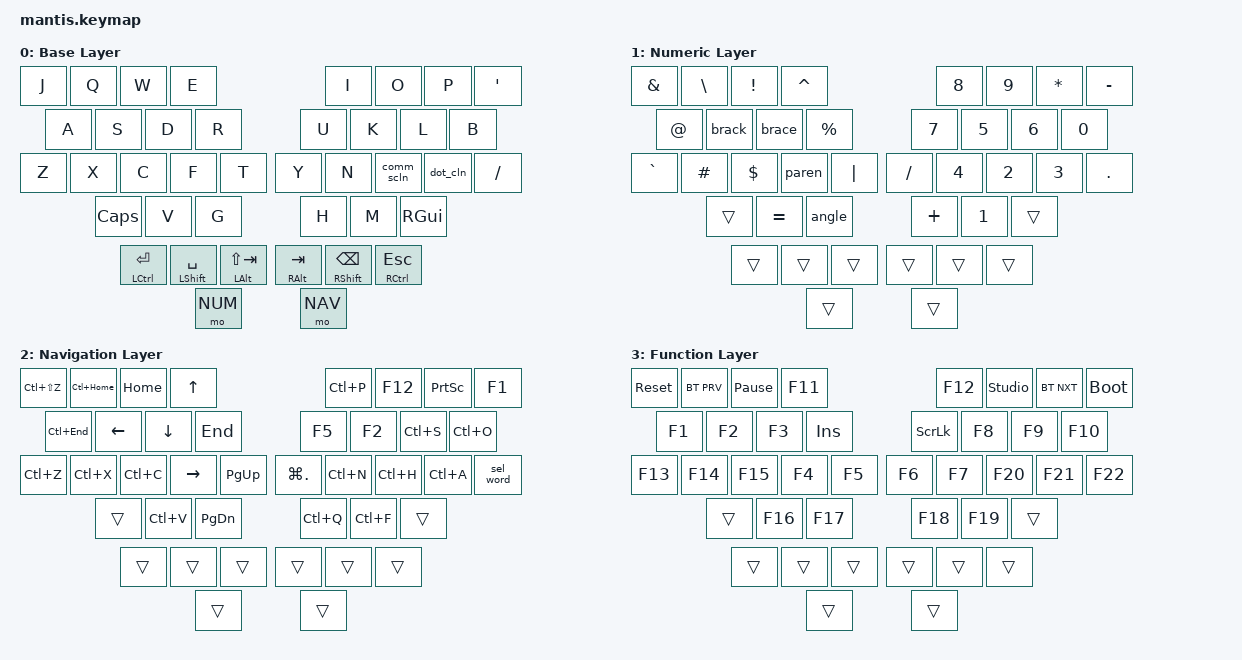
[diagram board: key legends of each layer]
/*
 * Copyright (c) 2024 Joshua Lucas
 *
 * SPDX-License-Identifier: MIT
 */

#include <dt-bindings/zmk/keys.h>
#include <behaviors.dtsi>
#include <dt-bindings/zmk/bt.h>

#define DEFAULT 0
#define NUM 1
#define NAV 2
#define FUNC 3

 / {
	behaviors {
		bspc_del: backspace_delete {
			compatible = "zmk,behavior-mod-morph";
			#binding-cells = <0>;
			bindings = <&kp BACKSPACE>, <&kp DELETE>;
			mods = <(MOD_LSFT|MOD_RSFT)>;
		};
		
		comm_scln: comma_semicolon {
			compatible = "zmk,behavior-mod-morph";
			#binding-cells = <0>;
			bindings = <&kp COMMA>, <&kp SEMICOLON>;
			mods = <(MOD_LSFT|MOD_RSFT)>;
		};

		dot_cln: dot_colon {
			compatible = "zmk,behavior-mod-morph";
			#binding-cells = <0>;
			bindings = <&kp DOT>, <&kp COLON>;
			mods = <(MOD_LSFT|MOD_RSFT)>;
		};
		
		under_minus: underscore_minus {
			compatible = "zmk,behavior-mod-morph";
			#binding-cells = <0>;
			bindings = <&kp UNDERSCORE>, <&kp MINUS>;
			mods = <(MOD_LSFT|MOD_RSFT)>;
		};

		brack: brackets {
			compatible = "zmk,behavior-mod-morph";
			#binding-cells = <0>;
			bindings = <&kp LEFT_BRACKET>, <&kp RIGHT_BRACKET>;
			mods = <(MOD_LSFT|MOD_RSFT)>;
		};

		brace: braces {
			compatible = "zmk,behavior-mod-morph";
			#binding-cells = <0>;
			bindings = <&kp LEFT_BRACE>, <&kp RIGHT_BRACE>;
			mods = <(MOD_LSFT|MOD_RSFT)>;
		};

		paren: parentheses {
			compatible = "zmk,behavior-mod-morph";
			#binding-cells = <0>;
			bindings = <&kp LEFT_PARENTHESIS>, <&kp RIGHT_PARENTHESIS>;
			mods = <(MOD_LSFT|MOD_RSFT)>;
		};

		angle: anglebrackets {
			compatible = "zmk,behavior-mod-morph";
			#binding-cells = <0>;
			bindings = <&kp LESS_THAN>, <&kp GREATER_THAN>;
			mods = <(MOD_LSFT|MOD_RSFT)>;
		};
	};

	conditional_layers {
		compatible = "zmk,conditional-layers";
		tri_layer {
			if-layers = <NUM NAV>;
			then-layer = <FUNC>;
		};
	};

	macros {
		sel_word: select_word {
			compatible = "zmk,behavior-macro";
			#binding-cells = <0>;
			bindings
				= <&macro_press &kp LCTRL>
				, <&macro_tap &kp LEFT>
				, <&macro_press &kp LSHFT>
				, <&macro_tap &kp RIGHT>
				, <&macro_release &kp LSHFT>
				, <&macro_release &kp LCTRL>
				;
		};
	};

	keymap {
		compatible = "zmk,keymap";

		default_layer {
			display-name = "Base Layer";
			//	,---------------,---------------,---------------,---------------,									,---------------,---------------,---------------,---------------,
			//	|				|				|				|				|									|				|				|				|				|
			//	|		J		|		Q		|		W		|		E		|									|		I		|		O		|		P		|	   ' "		|
			//	|				|				|				|				|									|				|				|				|				|
			//	'-------,-------'-------,-------'-------,-------'-------,-------'-------,					,-------'-------,-------'-------,-------'-------,-------'-------,-------'
			//			|				|				|				|				|					|				|				|				|				|
			//			|		A		|		S		|		D		|		R		|					|		U		|		K		|		L		|		B		|
			//			|				|				|				|				|					|				|				|				|				|
			//	,-------'-------,-------'-------,-------'-------,-------'-------,-------'-------,	,-------'-------,-------'-------,-------'-------,-------'-------,-------'-------,
			//	|				|				|				|				|				|	|				|				|				|				|				|
			//	|		Z		|		X		|		C		|		F		|		T		|	|		Y		|		N		|	   , ;		|	   . :		|	   / ?		|
			//	|				|				|				|				|				|	|				|				|				|				|				|
			//	'---------------'-------,-------'-------,-------'-------,-------'-------,-------'	'-------,-------'-------,-------'-------,-------'-------,-------'---------------'
			//							|				|				|				|					|				|				|				|
			//							|	Caps Lock	|		V		|		G		|					|		H		|		M		|	   RGUI		|
			//							|				|				|				|					|				|				|				|
			//							'-------,-------'-------,-------'-------,-------'-------,	,-------'-------,-------'-------,-------'-------,-------'
			//									|	  LCtrl		|	  LShift	|	   LAlt		|	|	   RAlt		|	  RShift	|	  RCtrl		|
			//									|				|				|				|	|				|				|				|
			//									|	  Return	|	  Space		|	   LTab		|	|	   RTab		|	Backspace	|	  Escape	|
			//									'---------------'-------,-------'-------,-------'	'-------,-------'-------,-------'---------------'
			//															|				|					|				|
			//															|	 Numeric	|					|	 Function	|
			//															|				|					|				|
			//															'---------------'					'---------------'

			bindings = <
					&kp J			&kp Q			&kp W			&kp E												&kp I			&kp O			&kp P			&kp SQT

							&kp A			&kp S			&kp D			&kp R								&kp U			&kp K			&kp L			&kp B

					&kp Z			&kp X			&kp C			&kp F			&kp T				&kp Y			&kp N			&comm_scln		&dot_cln		&kp SLASH

											&kp CAPS		&kp V			&kp G								&kp H			&kp M			&kp RGUI

										&mt LCTRL RETURN	&mt LSHIFT SPACE	&mt LALT LS(TAB)		&mt RALT TAB	&mt RSHIFT BSPC		&mt RCTRL ESC

																			&mo NUM								&mo NAV
			>;
		};

		numeric {
			display-name = "Numeric Layer";
			//	,---------------,---------------,---------------,---------------,									,---------------,---------------,---------------,---------------,
			//	|				|				|				|				|									|				|				|				|				|
			//	|		&		|		\		|		!		|		^		|									|		8		|		9		|		*		|	   - _		|
			//	|				|				|				|				|									|				|				|				|				|
			//	'-------,-------'-------,-------'-------,-------'-------,-------'-------,					,-------'-------,-------'-------,-------'-------,-------'-------,-------'
			//			|				|				|				|				|					|				|				|				|				|
			//			|		@		|	   [ ]		|	   { }		|		%		|					|		7		|		5		|		6		|		0		|
			//			|				|				|				|				|					|				|				|				|				|
			//	,-------'-------,-------'-------,-------'-------,-------'-------,-------'-------,	,-------'-------,-------'-------,-------'-------,-------'-------,-------'-------,
			//	|				|				|				|				|				|	|				|				|				|				|				|
			//	|	   ` ~		|		#		|		$		|	   ( )		|		|		|	|		/		|		4		|		2		|		3		|		.		|
			//	|				|				|				|				|				|	|				|				|				|				|				|
			//	'---------------'-------,-------'-------,-------'-------,-------'-------,-------'	'-------,-------'-------,-------'-------,-------'-------,-------'---------------'
			//							|				|				|				|					|				|				|				|
			//							|	  trans		|		=		|	   < >		|					|		+		|		1		|	  trans		|
			//							|				|				|				|					|				|				|				|
			//							'-------,-------'-------,-------'-------,-------'-------,	,-------'-------,-------'-------,-------'-------,-------'
			//									|				|				|				|	|				|				|				|
			//									|	  trans		|	  trans		|	  trans		|	|	  trans		|	  trans		|	  trans		|
			//									|				|				|				|	|				|				|				|
			//									'---------------'-------,-------'-------,-------'	'-------,-------'-------,-------'---------------'
			//															|				|					|				|
			//															|	  trans		|					|	  trans		|
			//															|				|					|				|
			//															'---------------'					'---------------'

			bindings = <
					&kp AMPS		&kp BSLH		&kp EXCL		&kp CARET											&kp N8			&kp N9			&kp STAR		&kp MINUS

							&kp AT			&brack			&brace			&kp PERCENT							&kp N7			&kp N5			&kp N6			&kp N0

					&kp GRAVE		&kp HASH		&kp DOLLAR		&paren			&kp PIPE			&kp SLASH		&kp N4			&kp N2			&kp N3			&kp DOT

											&trans			&kp EQUAL		&angle								&kp PLUS		&kp N1			&trans

													&trans			&trans			&trans				&trans			&trans			&trans

																			&trans								&trans
			>;
		};

		navigation {
			display-name = "Navigation Layer";
			//	,---------------,---------------,---------------,---------------,									,---------------,---------------,---------------,---------------,
			//	|				|				|				|				|									|				|				|				|				|
			//	|	   Redo		|	   Top		|	   Home		|		Up		|									|	  Print		|	 Save As	|  Print Screen	|	   Help		|
			//	|				|				|				|				|									|				|				|				|				|
			//	'-------,-------'-------,-------'-------,-------'-------,-------'-------,					,-------'-------,-------'-------,-------'-------,-------'-------,-------'
			//			|				|				|				|				|					|				|				|				|				|
			//			|	  Bottom	|	   Left		|	   Down		|	   End		|					|	 Refresh	|	   Edit		|	   Save		|	   Open		|
			//			|				|				|				|				|					|				|				|				|				|
			//	,-------'-------,-------'-------,-------'-------,-------'-------,-------'-------,	,-------'-------,-------'-------,-------'-------,-------'-------,-------'-------,
			//	|				|				|				|				|				|	|				|				|				|				|				|
			//	|	   Undo		|	   Cut		|	   Copy		|	  Right		|	 Page Up	|	|	  Symbol	|	   New		|	 Replace	|   Select All	|  Select Word	|
			//	|				|				|				|				|				|	|				|				|				|				|				|
			//	'---------------'-------,-------'-------,-------'-------,-------'-------,-------'	'-------,-------'-------,-------'-------,-------'-------,-------'---------------'
			//							|				|				|				|					|				|				|				|
			//							|	  trans		|	  Paste		|	Page Down	|					|	  Close		|	   Find		|	  trans		|
			//							|				|				|				|					|				|				|				|
			//							'-------,-------'-------,-------'-------,-------'-------,	,-------'-------,-------'-------,-------'-------,-------'
			//									|				|				|				|	|				|				|				|
			//									|	  trans		|	  trans		|	  trans		|	|	  trans		|	  trans		|	  trans		|
			//									|				|				|				|	|				|				|				|
			//									'---------------'-------,-------'-------,-------'	'-------,-------'-------,-------'---------------'
			//															|				|					|				|
			//															|	  trans		|					|	  trans		|
			//															|				|					|				|
			//															'---------------'					'---------------'

			bindings = <
					&kp LC(LS(Z))	&kp LC(HOME)	&kp HOME		&kp UP												&kp LC(P)		&kp F12			&kp PRINTSCREEN	&kp F1

							&kp LC(END)		&kp LEFT		&kp DOWN		&kp END								&kp F5			&kp F2			&kp LC(S)		&kp LC(O)

					&kp LC(Z)		&kp LC(X)		&kp LC(C)		&kp RIGHT		&kp PG_UP			&kp LG(DOT)		&kp LC(N)		&kp LC(H)		&kp LC(A)		&sel_word

											&trans			&kp LC(V)		&kp PG_DN							&kp LC(Q)		&kp LC(F)		&trans

													&trans			&trans			&trans				&trans			&trans			&trans

																			&trans								&trans
			>;
		};

		function {
			display-name = "Function Layer";
			//	,---------------,---------------,---------------,---------------,									,---------------,---------------,---------------,---------------,
			//	|				|				|				|				|									|				|				|				|				|
			//	|	  Reset		|	   F23		|  Pause Break	|	   F11		|									|	   F12		| Studio Unlock	|	   F24		|   Bootloader	|
			//	|				|				|				|				|									|				|				|				|				|
			//	'-------,-------'-------,-------'-------,-------'-------,-------'-------,					,-------'-------,-------'-------,-------'-------,-------'-------,-------'
			//			|				|				|				|				|					|				|				|				|				|
			//			|		F1		|		F2		|		F3		|	  Insert	|					|  Scroll Lock	|		F8		|		F9		|	   F10		|
			//			|				|				|				|				|					|				|				|				|				|
			//	,-------'-------,-------'-------,-------'-------,-------'-------,-------'-------,	,-------'-------,-------'-------,-------'-------,-------'-------,-------'-------,
			//	|				|				|				|				|				|	|				|				|				|				|				|
			//	|	   F13		|	   F14		|	   F15		|		F4		|		F5		|	|		F6		|		F7		|	   F20		|	   F21		|	   F22	|
			//	|				|				|				|				|				|	|				|				|				|				|				|
			//	'---------------'-------,-------'-------,-------'-------,-------'-------,-------'	'-------,-------'-------,-------'-------,-------'-------,-------'---------------'
			//							|				|				|				|					|				|				|				|
			//							|	  trans		|	   F16		|	   F17		|					|	   F18		|	   F19		|	  trans		|
			//							|				|				|				|					|				|				|				|
			//							'-------,-------'-------,-------'-------,-------'-------,	,-------'-------,-------'-------,-------'-------,-------'
			//									|				|				|				|	|				|				|				|
			//									|	  trans		|	  trans		|	  trans		|	|	  trans		|	  trans		|	  trans		|
			//									|				|				|				|	|				|				|				|
			//									'---------------'-------,-------'-------,-------'	'-------,-------'-------,-------'---------------'
			//															|				|					|				|
			//															|	  trans		|					|	  trans		|
			//															|				|					|				|
			//															'---------------'					'---------------'

			bindings = <
					&sys_reset		&bt BT_PRV		&kp PAUSE_BREAK	&kp F11												&kp F12			&studio_unlock	&bt BT_NXT		&bootloader

							&kp F1			&kp F2			&kp F3			&kp INSERT							&kp SCROLLLOCK	&kp F8			&kp F9			&kp F10

					&kp F13			&kp F14			&kp F15			&kp F4			&kp F5				&kp F6			&kp F7			&kp F20			&kp F21			&kp F22

											&trans			&kp F16			&kp F17								&kp F18			&kp F19			&trans

													&trans			&trans			&trans				&trans			&trans			&trans

																			&trans								&trans
			>;
		};

		// Extra layers for ZMK Studio
		extra4 {
			status = "reserved";
		};

		extra5 {
			status = "reserved";
		};

		extra6 {
			status = "reserved";
		};

		extra7 {
			status = "reserved";
		};

		extra8 {
			status = "reserved";
		};

		extra9 {
			status = "reserved";
		};

		extra10 {
			status = "reserved";
		};

		extra11 {
			status = "reserved";
		};

		extra12 {
			status = "reserved";
		};

		extra13 {
			status = "reserved";
		};

		extra14 {
			status = "reserved";
		};

		extra15 {
			status = "reserved";
		};
	};
 };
